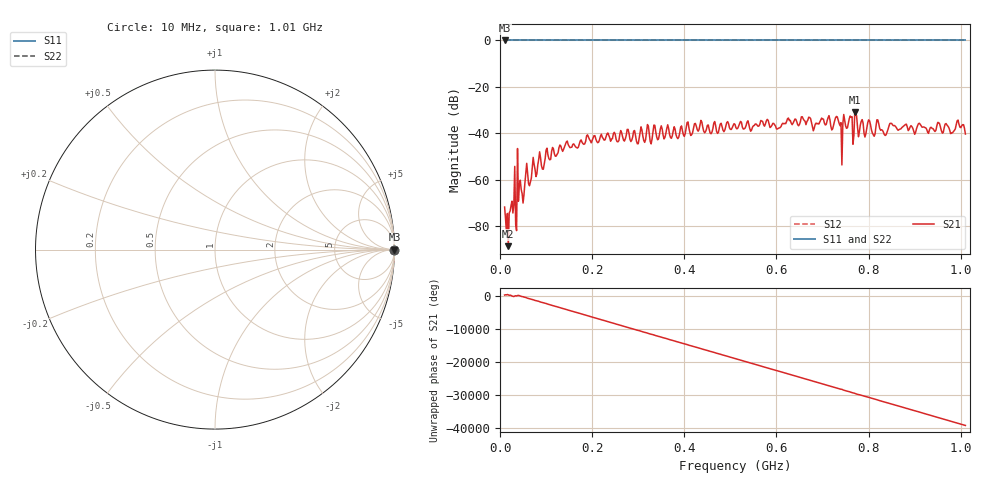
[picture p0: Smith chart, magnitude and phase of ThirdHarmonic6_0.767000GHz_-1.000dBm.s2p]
! 8/16/2025 1:38:06 AM
! C:\ANRITSUVNA\TEMP\TEMP.S2P
! CHANNEL.1
! TR.MEASUREMENT
! RAW.DATA
! RF.CORRECTION.OFF
! AVERAGING.OFF
! IF.BANDWIDTH: 5KHZ
! SWEEPTYPE:  FREQ.SWEEP(Linear)
! Reference Plane Port Info
! PORT:  PORT1  PORT2
! DISTANCE:  0  m  0  m
! TIME:  0  s  0  s
! PHASE.OFFSET:  0  deg.  0  deg.
! LOSS:  0  dB  0  dB
! REF.LOSS:  0  dB  0  dB
! REF.FREQ:  0  Hz  0  Hz
! Power Info
! POWER:  -20  dBm  -20  dBm
! EFF.POWER:  -20  dBm  -20  dBm
! SOURCE.ATTEN:  0  dB  0  dB
! TEST.ATTEN:  0  dB  0  dB
# GHZ S RI R 50.0
! FREQ.GHZ  S11RE  S11IM  S21RE  S21IM  S12RE  S12IM  S22RE  S22IM
!; PortSelection: Port_12
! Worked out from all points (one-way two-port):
!   501 points, 10 MHz to 1.01 GHz, reference 50 ohm
!   highest |S21| = -30.79 dB at 770 MHz (marker M1); lowest = -88.5 dB at 18 MHz (marker M2)
!   lowest |S11| = 0.0 dB at 10 MHz (marker M3)
!   |S11| at or under -10 dB: nowhere
!   |S22| runs from 0.0 to 0.0 dB; largest |S21 - S12| = 1
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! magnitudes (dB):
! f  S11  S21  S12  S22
! 10 MHz  0.0  -71.7  0.0  0.0
! 18 MHz  0.0  -88.5  0.0  0.0
! 28 MHz  0.0  -74.3  0.0  0.0
! 32 MHz  0.0  -54.2  0.0  0.0
! 42 MHz  0.0  -62.0  0.0  0.0
! 50 MHz  0.0  -70.0  0.0  0.0
! 58 MHz  0.0  -52.9  0.0  0.0
! 64 MHz  0.0  -62.5  0.0  0.0
! 86 MHz  0.0  -47.9  0.0  0.0
! 178 MHz  0.0  -43.8  0.0  0.0
! 344 MHz  0.0  -42.4  0.0  0.0
! 510 MHz  0.0  -36.1  0.0  0.0
! 678 MHz  0.0  -37.0  0.0  0.0
! 730 MHz  0.0  -32.7  0.0  0.0
! 740 MHz  0.0  -35.4  0.0  0.0
! 770 MHz  0.0  -30.8  0.0  0.0
! 802 MHz  0.0  -34.6  0.0  0.0
! 810 MHz  0.0  -40.5  0.0  0.0
! 820 MHz  0.0  -34.2  0.0  0.0
! 836 MHz  0.0  -40.9  0.0  0.0
! 844 MHz  0.0  -36.9  0.0  0.0
! 1.01 GHz  0.0  -40.3  0.0  0.0
